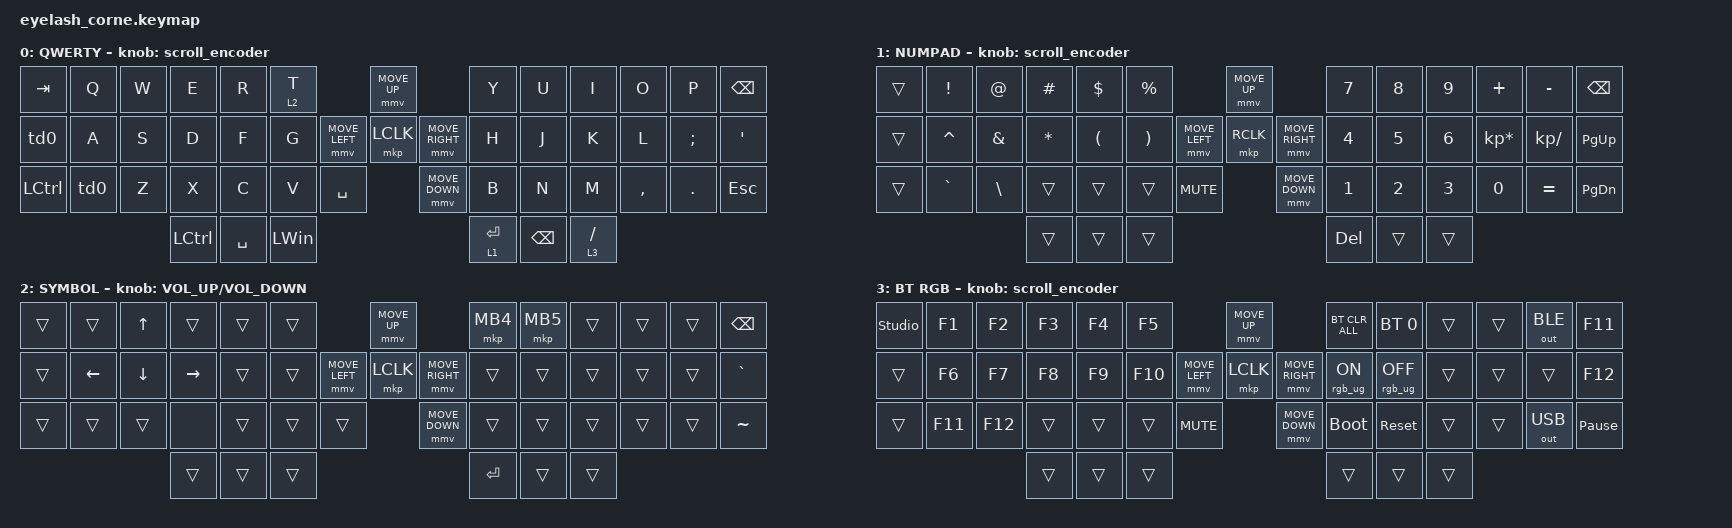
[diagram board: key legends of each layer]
#define ZMK_POINTING_DEFAULT_MOVE_VAL 1200  // 600
#define ZMK_POINTING_DEFAULT_SCRL_VAL 25   // 10

#include <input/processors.dtsi>
#include <zephyr/dt-bindings/input/input-event-codes.h>
#include <behaviors.dtsi>
#include <dt-bindings/zmk/bt.h>
#include <dt-bindings/zmk/keys.h>
#include <dt-bindings/zmk/outputs.h>
#include <dt-bindings/zmk/pointing.h>
#include <dt-bindings/zmk/rgb.h>

&mmv_input_listener { input-processors = <&zip_xy_scaler 2 1>; };

&msc_input_listener { input-processors = <&zip_scroll_scaler 2 1>; };

&msc {
    acceleration-exponent = <1>;      // 0
    time-to-max-speed-ms = <100>;       // 300
    delay-ms = <0>;                   // 0
};

&mmv {
    time-to-max-speed-ms = <500>;
    acceleration-exponent = <1>;
    trigger-period-ms = <16>;
};

&soft_off { hold-time-ms = <2000>; };

/ {
    behaviors {
        td0: td0 {
            compatible = "zmk,behavior-tap-dance";
            display-name = "Shift/Caps Lock Tap Dance";
            #binding-cells = <0>;
            bindings = <&kp LEFT_SHIFT>, <&kp CAPS>;
        };
    };

    rgb_encoder: rgb_encoder {
        compatible = "zmk,behavior-sensor-rotate";
        #sensor-binding-cells = <0>;
        bindings = <&rgb_ug RGB_BRI>, <&rgb_ug RGB_BRD>;
    };

    scroll_encoder: scroll_encoder {
        compatible = "zmk,behavior-sensor-rotate";
        #sensor-binding-cells = <0>;
        bindings = <&msc SCRL_DOWN>, <&msc SCRL_UP>;

        tap-ms = <100>;
    };

    combos {
        compatible = "zmk,combos";

        softoff {
            bindings = <&soft_off>;
            key-positions = <1 15 29>;
        };

        Escape {
            bindings = <&kp ESC>;
            key-positions = <1 2>;
        };

        LeftParentheses {
            bindings = <&kp LEFT_PARENTHESIS>;
            key-positions = <32 33>;
        };

        RightParentheses {
            bindings = <&kp RIGHT_PARENTHESIS>;
            key-positions = <36 37>;
        };

        LeftBracket {
            bindings = <&kp LEFT_BRACKET>;
            key-positions = <17 18>;
        };

        RightBracket {
            bindings = <&kp RIGHT_BRACKET>;
            key-positions = <22 23>;
        };

        LeftBrace {
            bindings = <&kp LEFT_BRACE>;
            key-positions = <4 5>;
        };

        RightBrace {
            bindings = <&kp RIGHT_BRACE>;
            key-positions = <7 8>;
        };

        Delete {
            bindings = <&kp DEL>;
            key-positions = <10 11>;
        };

        Up {
            bindings = <&kp UP>;
            key-positions = <3 16>;
        };

        Left {
            bindings = <&kp LEFT>;
            key-positions = <16 15>;
        };

        Down {
            bindings = <&kp DOWN>;
            key-positions = <16 31>;
        };

        Right {
            bindings = <&kp RIGHT>;
            key-positions = <16 17>;
        };

        SingleQuote {
            bindings = <&kp SQT>;
            key-positions = <39 40>;
        };

        DoubleQuote {
            bindings = <&kp DQT>;
            key-positions = <25 26>;
        };

        LeftAlt {
            bindings = <&kp LEFT_ALT>;
            key-positions = <29 30>;
        };

        Tab {
            bindings = <&kp TAB>;
            key-positions = <42 43>;
        };
    };

    keymap {
        compatible = "zmk,keymap";

        default_layer {
            display-name = "QWERTY";
            bindings = <
&kp TAB    &kp Q  &kp W  &kp E      &kp R      &lt 2 T                                    &mmv MOVE_UP                     &kp Y        &kp U          &kp I        &kp O      &kp P       &kp BSPC
&td0       &kp A  &kp S  &kp D      &kp F      &kp G                      &mmv MOVE_LEFT  &mkp LCLK       &mmv MOVE_RIGHT  &kp H        &kp J          &kp K        &kp L      &kp SEMI    &kp SQT
&kp LCTRL  &td0   &kp Z  &kp X      &kp C      &kp V         &kp SPACE                    &mmv MOVE_DOWN                   &kp B        &kp N          &kp M        &kp COMMA  &kp PERIOD  &kp ESC
                         &kp LCTRL  &kp SPACE  &kp LEFT_WIN                                                                &lt 1 ENTER  &kp BACKSPACE  &lt 3 SLASH
            >;

            sensor-bindings = <&scroll_encoder>;
        };

        Number {
            display-name = "NUMPAD";
            bindings = <
&trans  &kp EXCLAMATION  &kp AT         &kp HASH      &kp DOLLAR            &kp PERCENT                                          &mmv MOVE_UP                     &kp N7        &kp N8        &kp N9        &kp PLUS         &kp MINUS      &kp BSPC
&trans  &kp CARET        &kp AMPERSAND  &kp ASTERISK  &kp LEFT_PARENTHESIS  &kp RIGHT_PARENTHESIS                &mmv MOVE_LEFT  &mkp RCLK       &mmv MOVE_RIGHT  &kp NUMBER_4  &kp N5        &kp NUMBER_6  &kp KP_MULTIPLY  &kp KP_DIVIDE  &kp PG_UP
&trans  &kp GRAVE        &kp BACKSLASH  &trans        &trans                &trans                 &kp C_MUTE                    &mmv MOVE_DOWN                   &kp NUMBER_1  &kp NUMBER_2  &kp NUMBER_3  &kp N0           &kp EQUAL      &kp PG_DN
                                        &trans        &trans                &trans                                                                                &kp DELETE    &trans        &trans
            >;

            sensor-bindings = <&scroll_encoder>;
        };

        Media {
            display-name = "SYMBOL";
            bindings = <
&trans  &trans          &kp UP    &trans     &trans  &trans                            &mmv MOVE_UP                     &mkp MB4  &mkp MB5  &trans  &trans  &trans  &kp BSPC
&trans  &kp LEFT_ARROW  &kp DOWN  &kp RIGHT  &trans  &trans            &mmv MOVE_LEFT  &mkp LCLK       &mmv MOVE_RIGHT  &trans    &trans    &trans  &trans  &trans  &kp GRAVE
&trans  &trans          &trans    &none      &trans  &trans  &trans                    &mmv MOVE_DOWN                   &trans    &trans    &trans  &trans  &trans  &kp TILDE
                                  &trans     &trans  &trans                                                             &kp RET   &trans    &trans
            >;

            sensor-bindings = <&inc_dec_kp C_VOLUME_UP C_VOLUME_DOWN>;
        };

        Fn {
            display-name = "BT RGB";
            bindings = <
&studio_unlock  &kp F1   &kp F2   &kp F3  &kp F4  &kp F5                                 &mmv MOVE_UP                     &bt BT_CLR_ALL  &bt BT_SEL 0     &trans  &trans  &out OUT_BLE  &kp F11
&trans          &kp F6   &kp F7   &kp F8  &kp F9  &kp F10                &mmv MOVE_LEFT  &mkp LCLK       &mmv MOVE_RIGHT  &rgb_ug RGB_ON  &rgb_ug RGB_OFF  &trans  &trans  &trans        &kp F12
&trans          &kp F11  &kp F12  &trans  &trans  &trans   &kp C_MUTE                    &mmv MOVE_DOWN                   &bootloader     &sys_reset       &trans  &trans  &out OUT_USB  &kp PAUSE_BREAK
                                  &trans  &trans  &trans                                                                  &trans          &trans           &trans
            >;

            sensor-bindings = <&scroll_encoder>;
        };
    };
};
